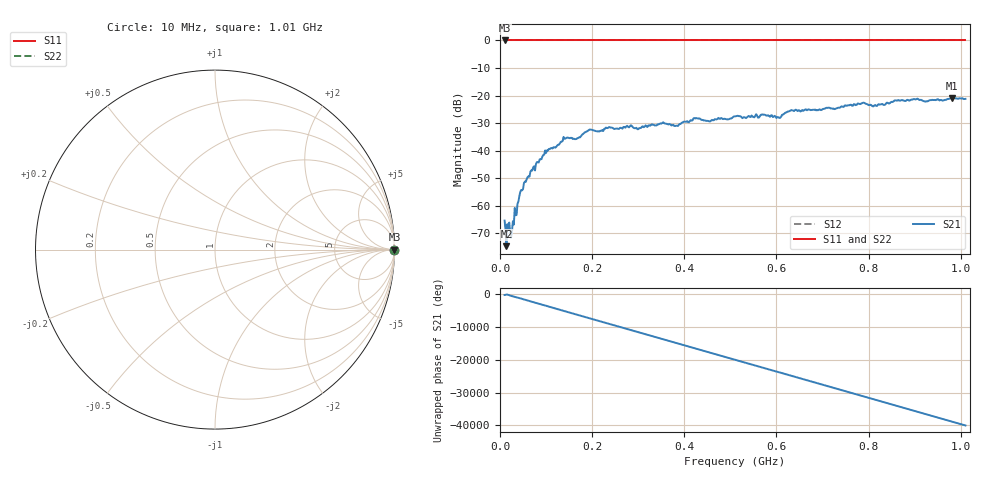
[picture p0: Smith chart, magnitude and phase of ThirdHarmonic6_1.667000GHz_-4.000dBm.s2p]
! 8/16/2025 7:58:50 PM
! C:\ANRITSUVNA\TEMP\TEMP.S2P
! CHANNEL.1
! TR.MEASUREMENT
! RAW.DATA
! RF.CORRECTION.OFF
! AVERAGING.OFF
! IF.BANDWIDTH: 5KHZ
! SWEEPTYPE:  FREQ.SWEEP(Linear)
! Reference Plane Port Info
! PORT:  PORT1  PORT2
! DISTANCE:  0  m  0  m
! TIME:  0  s  0  s
! PHASE.OFFSET:  0  deg.  0  deg.
! LOSS:  0  dB  0  dB
! REF.LOSS:  0  dB  0  dB
! REF.FREQ:  0  Hz  0  Hz
! Power Info
! POWER:  -20  dBm  -20  dBm
! EFF.POWER:  -20  dBm  -20  dBm
! SOURCE.ATTEN:  0  dB  0  dB
! TEST.ATTEN:  0  dB  0  dB
# GHZ S RI R 50.0
! FREQ.GHZ  S11RE  S11IM  S21RE  S21IM  S12RE  S12IM  S22RE  S22IM
!; PortSelection: Port_12
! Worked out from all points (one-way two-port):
!   501 points, 10 MHz to 1.01 GHz, reference 50 ohm
!   highest |S21| = -20.82 dB at 980 MHz (marker M1); lowest = -74.6 dB at 14 MHz (marker M2)
!   lowest |S11| = 0.0 dB at 10 MHz (marker M3)
!   |S11| at or under -10 dB: nowhere
!   |S22| runs from 0.0 to 0.0 dB; largest |S21 - S12| = 1.1
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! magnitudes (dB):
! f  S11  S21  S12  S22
! 10 MHz  0.0  -65.4  0.0  0.0
! 14 MHz  0.0  -74.6  0.0  0.0
! 26 MHz  0.0  -69.1  0.0  0.0
! 42 MHz  0.0  -56.5  0.0  0.0
! 56 MHz  0.0  -51.3  0.0  0.0
! 98 MHz  0.0  -39.9  0.0  0.0
! 142 MHz  0.0  -35.6  0.0  0.0
! 166 MHz  0.0  -35.7  0.0  0.0
! 178 MHz  0.0  -34.2  0.0  0.0
! 196 MHz  0.0  -32.3  0.0  0.0
! 302 MHz  0.0  -31.8  0.0  0.0
! 344 MHz  0.0  -30.4  0.0  0.0
! 382 MHz  0.0  -30.9  0.0  0.0
! 424 MHz  0.0  -28.3  0.0  0.0
! 454 MHz  0.0  -29.3  0.0  0.0
! 510 MHz  0.0  -27.5  0.0  0.0
! 604 MHz  0.0  -27.8  0.0  0.0
! 630 MHz  0.0  -25.5  0.0  0.0
! 678 MHz  0.0  -25.2  0.0  0.0
! 844 MHz  0.0  -22.9  0.0  0.0
! 980 MHz  0.0  -20.8  0.0  0.0
! 1.01 GHz  0.0  -21.2  0.0  0.0
